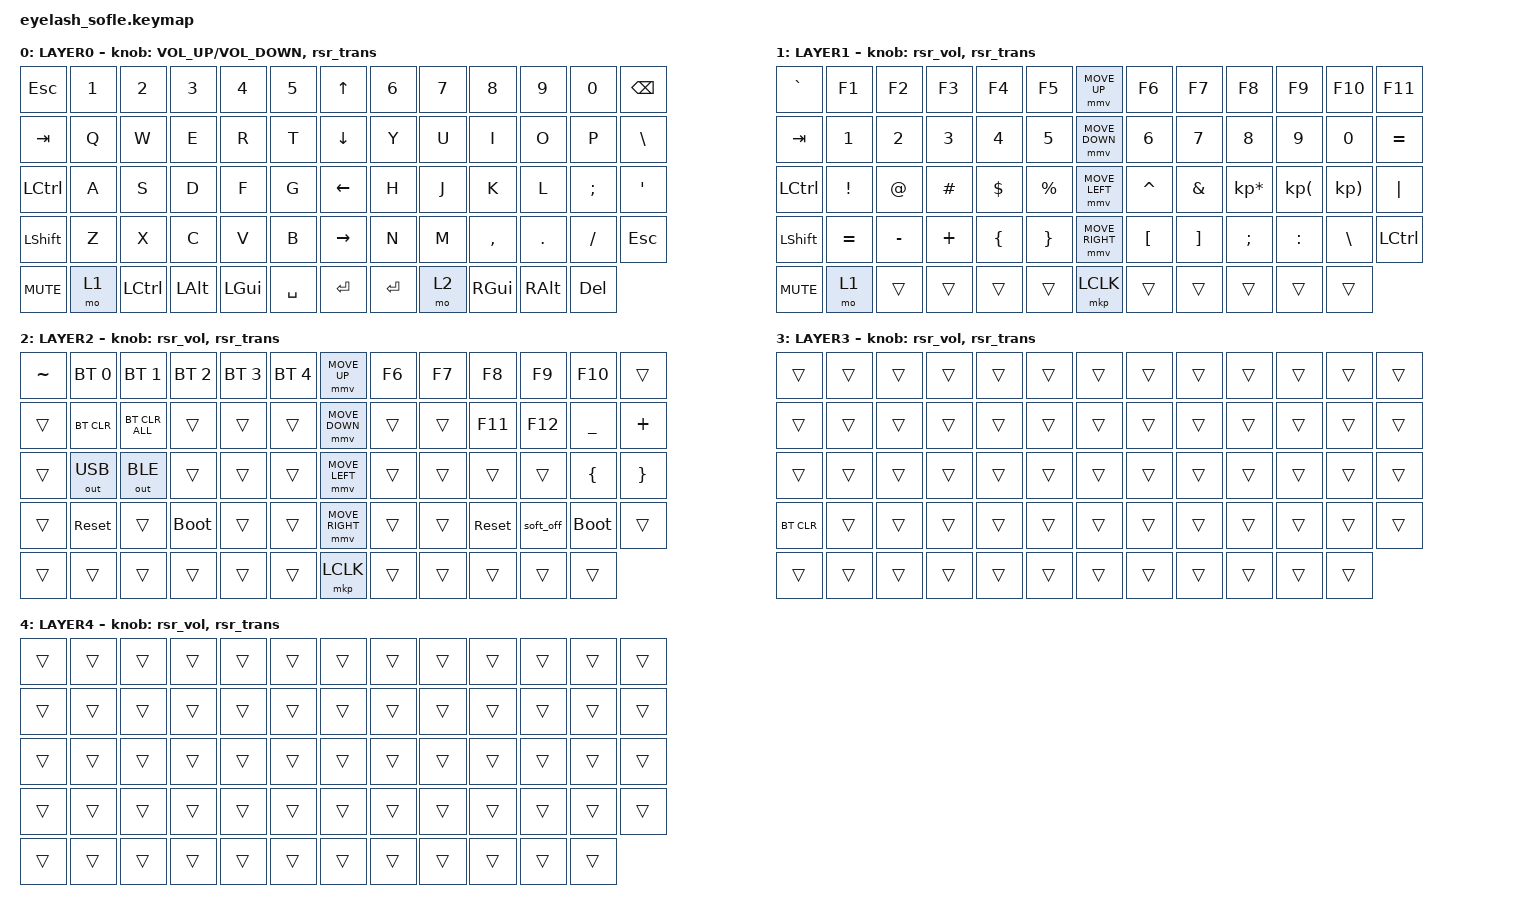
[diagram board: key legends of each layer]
#define ZMK_POINTING_DEFAULT_MOVE_VAL 1200  // 600
#define ZMK_POINTING_DEFAULT_SCRL_VAL 25   // 10

#include <input/processors.dtsi>
#include <zephyr/dt-bindings/input/input-event-codes.h>
#include <behaviors/runtime-sensor-rotate.dtsi>
#include <behaviors.dtsi>
#include <dt-bindings/zmk/bt.h>
#include <dt-bindings/zmk/keys.h>
#include <dt-bindings/zmk/outputs.h>
#include <dt-bindings/zmk/pointing.h>

&mmv_input_listener { input-processors = <&zip_xy_scaler 2 1>; };

&msc_input_listener { input-processors = <&zip_scroll_scaler 2 1>; };

&msc {
    acceleration-exponent = <1>;      // 0
    time-to-max-speed-ms = <100>;       // 300
    delay-ms = <0>;                   // 0
};

&mmv {
    time-to-max-speed-ms = <500>;
    acceleration-exponent = <1>;
    trigger-period-ms = <16>;
};

&soft_off { hold-time-ms = <2000>; };

/ {
    scroll_encoder: scroll_encoder {
        compatible = "zmk,behavior-sensor-rotate";
        #sensor-binding-cells = <0>;
        bindings = <&msc SCRL_DOWN>, <&msc SCRL_UP>;

        tap-ms = <100>;
    };

    behaviors {
        rsr_vol: rsr_vol {
            compatible = "zmk,behavior-runtime-sensor-rotate";
            #sensor-binding-cells = <0>;
            tap-ms = <5>;
            cw-binding = <&kp C_VOL_UP>;
            ccw-binding = <&kp C_VOL_DN>;
        };

        rsr_trans: rsr_trans {
            compatible = "zmk,behavior-runtime-sensor-rotate";
            #sensor-binding-cells = <0>;
            tap-ms = <0>;
        };
    };

    combos {
        compatible = "zmk,combos";

        softoff {
            bindings = <&soft_off>;
            key-positions = <14 28 40>;
        };
    };

    macros {
        SHIFT_MCLK: SHIFT_MCLK {
            compatible = "zmk,behavior-macro";
            #binding-cells = <0>;
            bindings =
                <&macro_press>,
                <&kp LEFT_SHIFT>,
                <&macro_press>,
                <&mkp MB3>,
                <&macro_pause_for_release>,
                <&macro_release>,
                <&kp LEFT_SHIFT &mkp MB3>;

            label = "SHIFT_MCLK";
        };
    };

    keymap {
        compatible = "zmk,keymap";

        layer0 {
            bindings = <
&kp ESC     &kp N1  &kp N2     &kp N3        &kp N4        &kp N5       &kp UP_ARROW     &kp N6      &kp N7  &kp N8         &kp N9         &kp N0      &kp BACKSPACE
&kp TAB     &kp Q   &kp W      &kp E         &kp R         &kp T        &kp DOWN_ARROW   &kp Y       &kp U   &kp I          &kp O          &kp P       &kp BSLH
&kp LCTRL   &kp A   &kp S      &kp D         &kp F         &kp G        &kp LEFT_ARROW   &kp H       &kp J   &kp K          &kp L          &kp SEMI    &kp APOS
&kp LSHFT   &kp Z   &kp X      &kp C         &kp V         &kp B        &kp RIGHT_ARROW  &kp N       &kp M   &kp COMMA      &kp DOT        &kp FSLH    &kp ESCAPE
&kp C_MUTE  &mo 1   &kp LCTRL  &kp LEFT_ALT  &kp LEFT_GUI  &kp SPACE    &kp ENTER        &kp RETURN  &mo 2   &kp RIGHT_GUI  &kp RIGHT_ALT  &kp DELETE
            >;

            sensor-bindings =
                <&inc_dec_kp C_VOLUME_UP C_VOLUME_DOWN>,
                <&rsr_trans>;

            display-name = "LAYER0";
        };

        layer_1 {
            bindings = <
&kp GRAVE       &kp F1           &kp F2       &kp F3     &kp F4          &kp F5             &mmv MOVE_UP     &kp F6            &kp F7             &kp F8           &kp F9                   &kp F10                   &kp F11
&kp TAB         &kp N1           &kp N2       &kp N3     &kp N4          &kp N5             &mmv MOVE_DOWN   &kp N6            &kp N7             &kp N8           &kp N9                   &kp N0                    &kp EQUAL
&kp LCTRL       &kp EXCLAMATION  &kp AT_SIGN  &kp POUND  &kp DOLLAR      &kp PERCENT        &mmv MOVE_LEFT   &kp CARET         &kp AMPERSAND      &kp KP_MULTIPLY  &kp KP_LEFT_PARENTHESIS  &kp KP_RIGHT_PARENTHESIS  &kp PIPE
&kp LEFT_SHIFT  &kp EQUAL        &kp MINUS    &kp PLUS   &kp LEFT_BRACE  &kp RIGHT_BRACE    &mmv MOVE_RIGHT  &kp LEFT_BRACKET  &kp RIGHT_BRACKET  &kp SEMICOLON    &kp COLON                &kp BACKSLASH             &kp LCTRL
&kp C_MUTE      &mo 1            &trans       &trans     &trans          &trans             &mkp LCLK        &trans            &trans             &trans           &trans                   &trans
            >;

            sensor-bindings = <&rsr_vol &rsr_trans>;
            display-name = "LAYER1";
        };

        layer_2 {
            bindings = <
&kp TILDE  &bt BT_SEL 0  &bt BT_SEL 1    &bt BT_SEL 2  &bt BT_SEL 3  &bt BT_SEL 4    &mmv MOVE_UP     &kp F6  &kp F7  &kp F8      &kp F9     &kp F10      &trans
&trans     &bt BT_CLR    &bt BT_CLR_ALL  &trans        &trans        &trans          &mmv MOVE_DOWN   &trans  &trans  &kp F11     &kp F12    &kp UNDER    &kp PLUS
&trans     &out OUT_USB  &out OUT_BLE    &trans        &trans        &trans          &mmv MOVE_LEFT   &trans  &trans  &trans      &trans     &kp LBRC     &kp RBRC
&trans     &sys_reset    &trans          &bootloader   &trans        &trans          &mmv MOVE_RIGHT  &trans  &trans  &sys_reset  &soft_off  &bootloader  &trans
&trans     &trans        &trans          &trans        &trans        &trans          &mkp LCLK        &trans  &trans  &trans      &trans     &trans
            >;

            display-name = "LAYER2";
            sensor-bindings = <&rsr_vol &rsr_trans>;
        };

        layer_3 {
            bindings = <
&trans      &trans  &trans  &trans  &trans  &trans    &trans  &trans  &trans  &trans  &trans  &trans  &trans
&trans      &trans  &trans  &trans  &trans  &trans    &trans  &trans  &trans  &trans  &trans  &trans  &trans
&trans      &trans  &trans  &trans  &trans  &trans    &trans  &trans  &trans  &trans  &trans  &trans  &trans
&bt BT_CLR  &trans  &trans  &trans  &trans  &trans    &trans  &trans  &trans  &trans  &trans  &trans  &trans
&trans      &trans  &trans  &trans  &trans  &trans    &trans  &trans  &trans  &trans  &trans  &trans
            >;

            display-name = "LAYER3";
            sensor-bindings = <&rsr_vol &rsr_trans>;
        };

        layer_4 {
            bindings = <
&trans  &trans  &trans  &trans  &trans  &trans    &trans  &trans  &trans  &trans  &trans  &trans  &trans
&trans  &trans  &trans  &trans  &trans  &trans    &trans  &trans  &trans  &trans  &trans  &trans  &trans
&trans  &trans  &trans  &trans  &trans  &trans    &trans  &trans  &trans  &trans  &trans  &trans  &trans
&trans  &trans  &trans  &trans  &trans  &trans    &trans  &trans  &trans  &trans  &trans  &trans  &trans
&trans  &trans  &trans  &trans  &trans  &trans    &trans  &trans  &trans  &trans  &trans  &trans
            >;

            display-name = "LAYER4";
            sensor-bindings = <&rsr_vol &rsr_trans>;
        };
    };
};
